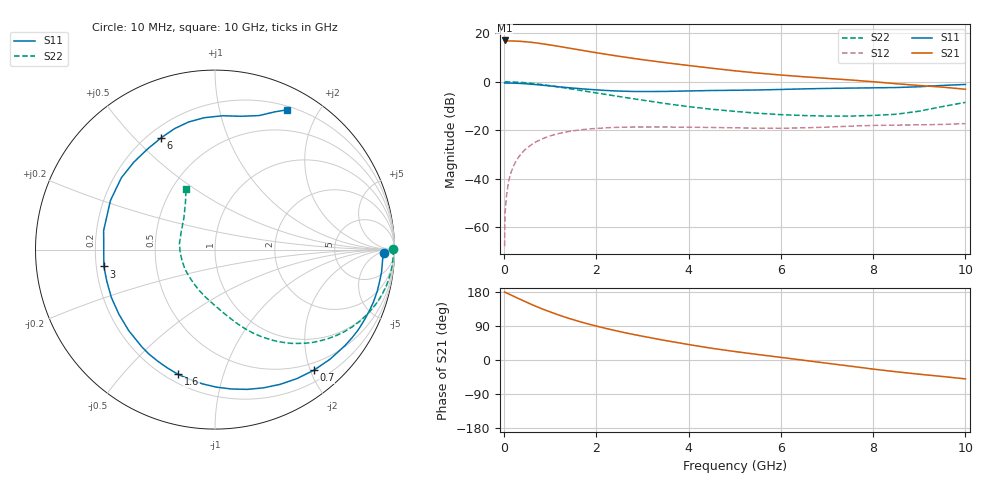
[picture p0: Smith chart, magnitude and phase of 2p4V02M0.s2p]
! (c) 2009  Infineon Technologies AG, Munich
! Infineon Technologies  Discrete & RF Semiconductors
! BFP420
! VCE =  4.0 V,  IC =  2.0 mA
! Common Emitter S-Parameters:  Nov 2009
# GHz  S  MA  R  50
!  f  S11  S21  S12  S22
! GHz  MAG  ANG  MAG  ANG  MAG  ANG  MAG  ANG
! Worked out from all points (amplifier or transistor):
!   46 points, 10 MHz to 10 GHz, reference 50 ohm
!   highest |S21| = 17.0 dB at 10 MHz (marker M1)
!   |S21| within 3 dB of that: start of sweep to 1.354 GHz
!   unconditionally stable (mu >= 1): 3.95 GHz to end of sweep
!   at 300 MHz: K = 0.06, MSG = 24.1 dB, |S12| = -31.5 dB
!   at 1.7 GHz: K = 0.34, MSG = 16.4 dB, |S12| = -19.8 dB
!   at 10 GHz: K = 1.22, MAG = 4.3 dB, |S12| = -17.3 dB
!   lowest NFmin = 0.53 dB at 900 MHz
!   S11 on the Smith chart (normalised r, x): 10 MHz: 31, -9; 700 MHz: 0.37, -2.06; 1.6 GHz: 0.24, -0.72; 3 GHz: 0.23, -0.07; 6 GHz: 0.25, +0.60; 10 GHz: 0.24, +1.62
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0.01  0.9424 -1.0  7.109 179.2  0.0004 77.8  0.993 0.1
0.02  0.9385 -1.5  6.899 179.0  0.0019 72.9  0.9934 -0.7
0.05  0.9354 -3.7  6.927 177.0  0.0043 83.2  0.9934 -1.9
0.15  0.9342 -11.0  6.953 171.4  0.0134 82.0  0.9898 -5.9
0.35  0.9193 -25.7  6.823 160.1  0.0308 74.8  0.9692 -13.6
0.5  0.9001 -36.5  6.633 151.7  0.043 68.9  0.9437 -19.2
0.7  0.8689 -50.7  6.317 141.1  0.0578 61.3  0.9005 -26.3
0.9  0.8338 -64.2  5.925 131.3  0.0703 54.2  0.8511 -32.7
1.1  0.7993 -77.0  5.528 122.4  0.0809 47.9  0.7993 -38.5
1.3  0.7666 -89.3  5.135 114.0  0.0897 42.0  0.7472 -43.9
1.6  0.725 -106.5  4.596 102.6  0.0995 34.2  0.6731 -50.9
1.7  0.7106 -111.9  4.434 99.2  0.1023 31.9  0.6501 -52.9
2.2  0.6596 -136.7  3.698 83.5  0.1114 21.8  0.5469 -62.2
2.6  0.636 -155.2  3.232 72.5  0.115 15.0  0.4755 -68.8
3  0.6262 -171.4  2.85 62.7  0.1162 9.6  0.4159 -74.8
3.5  0.6295 170.3  2.469 51.3  0.1158 4.1  0.3534 -82.7
4.5  0.6575 142.5  1.899 30.9  0.1133 -3.4  0.2696 -101.5
5.5  0.6746 124.0  1.507 14.5  0.1097 -7.1  0.2231 -121.9
6  0.6912 115.8  1.373 6.9  0.1092 -7.5  0.2085 -133.7
7  0.726 101.7  1.171 -8.5  0.1152 -8.5  0.1941 -159.0
8.5  0.7572 78.8  0.908 -31.1  0.1268 -15.5  0.2125 152.5
10  0.8764 62.7  0.698 -49.8  0.1358 -20.0  0.3739 115.5
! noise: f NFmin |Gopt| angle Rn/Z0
0.9  0.53  0.47  33  0.22
1.8  1.03  0.29  77  0.17
2.4  1.13  0.31  102  0.16
3  1.32  0.31  136  0.12
4  1.57  0.37  -168  0.1
5  1.96  0.42  -129  0.28
6  2.72  0.51  -111  0.37
